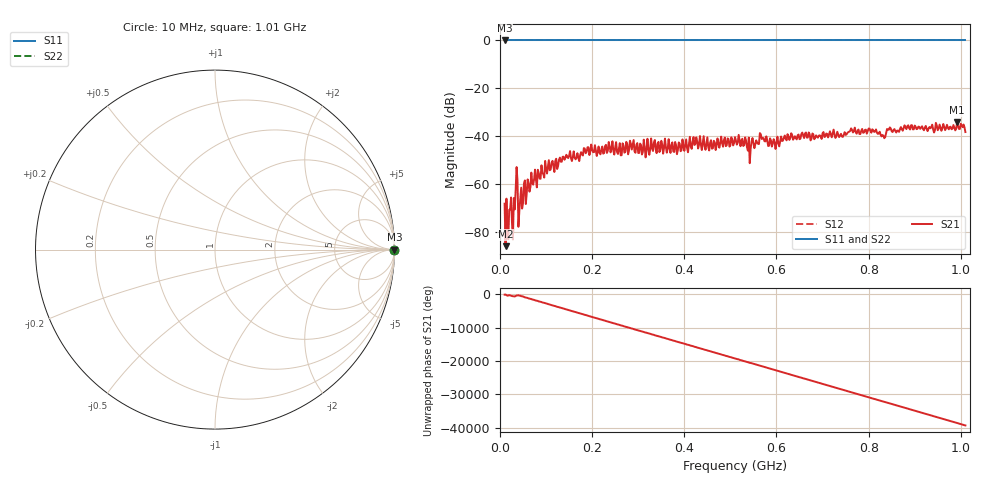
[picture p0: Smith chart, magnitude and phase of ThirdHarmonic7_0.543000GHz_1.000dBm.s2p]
! 8/17/2025 4:21:19 PM
! C:\ANRITSUVNA\TEMP\TEMP.S2P
! CHANNEL.1
! TR.MEASUREMENT
! RAW.DATA
! RF.CORRECTION.OFF
! AVERAGING.OFF
! IF.BANDWIDTH: 5KHZ
! SWEEPTYPE:  FREQ.SWEEP(Linear)
! Reference Plane Port Info
! PORT:  PORT1  PORT2
! DISTANCE:  0  m  0  m
! TIME:  0  s  0  s
! PHASE.OFFSET:  0  deg.  0  deg.
! LOSS:  0  dB  0  dB
! REF.LOSS:  0  dB  0  dB
! REF.FREQ:  0  Hz  0  Hz
! Power Info
! POWER:  -20  dBm  -20  dBm
! EFF.POWER:  -20  dBm  -20  dBm
! SOURCE.ATTEN:  0  dB  0  dB
! TEST.ATTEN:  0  dB  0  dB
# GHZ S RI R 50.0
! FREQ.GHZ  S11RE  S11IM  S21RE  S21IM  S12RE  S12IM  S22RE  S22IM
!; PortSelection: Port_12
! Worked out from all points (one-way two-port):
!   501 points, 10 MHz to 1.01 GHz, reference 50 ohm
!   highest |S21| = -34.28 dB at 992 MHz (marker M1); lowest = -86.1 dB at 12 MHz (marker M2)
!   lowest |S11| = 0.0 dB at 10 MHz (marker M3)
!   |S11| at or under -10 dB: nowhere
!   |S22| runs from 0.0 to 0.0 dB; largest |S21 - S12| = 1
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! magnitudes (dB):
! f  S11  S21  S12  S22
! 10 MHz  0.0  -68.3  0.0  0.0
! 12 MHz  0.0  -86.1  0.0  0.0
! 16 MHz  0.0  -79.2  0.0  0.0
! 30 MHz  0.0  -65.9  0.0  0.0
! 34 MHz  0.0  -62.4  0.0  0.0
! 44 MHz  0.0  -66.3  0.0  0.0
! 50 MHz  0.0  -68.0  0.0  0.0
! 72 MHz  0.0  -60.3  0.0  0.0
! 178 MHz  0.0  -47.8  0.0  0.0
! 286 MHz  0.0  -45.7  0.0  0.0
! 344 MHz  0.0  -42.5  0.0  0.0
! 510 MHz  0.0  -40.5  0.0  0.0
! 536 MHz  0.0  -44.7  0.0  0.0
! 540 MHz  0.0  -40.7  0.0  0.0
! 568 MHz  0.0  -41.2  0.0  0.0
! 594 MHz  0.0  -41.3  0.0  0.0
! 678 MHz  0.0  -38.9  0.0  0.0
! 766 MHz  0.0  -38.5  0.0  0.0
! 832 MHz  0.0  -39.8  0.0  0.0
! 844 MHz  0.0  -37.4  0.0  0.0
! 992 MHz  0.0  -34.3  0.0  0.0
! 1.01 GHz  0.0  -38.3  0.0  0.0
